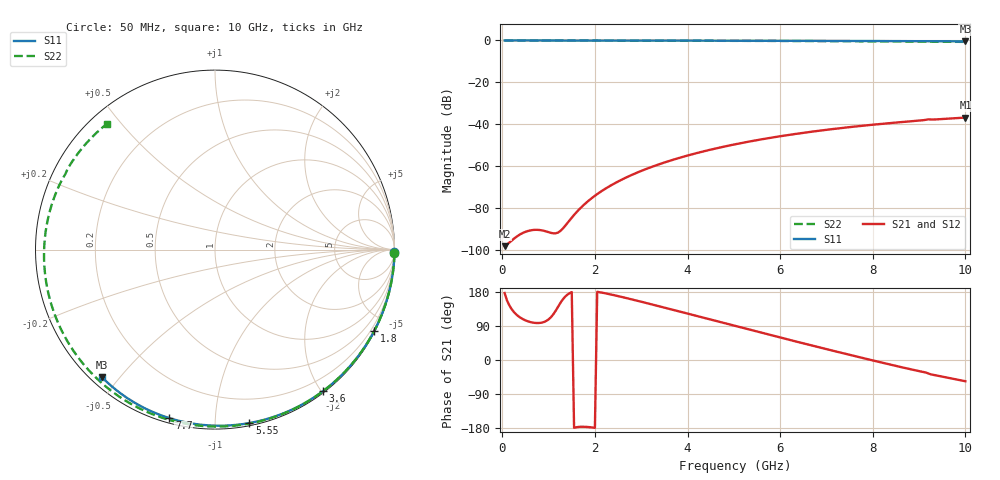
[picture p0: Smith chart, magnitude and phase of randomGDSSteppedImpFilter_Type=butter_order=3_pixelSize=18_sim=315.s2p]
! freq	dB(S11)	phase(S11)	dB(S12)	phase(S12)
!  dB(S21)	phase(S21)	dB(S22)	phase(S22)
!S-par simulation data
#  GHz  S  DB  R 50
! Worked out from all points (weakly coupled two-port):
!   200 points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, 50 MHz to 10 GHz, reference 50 ohm
!   highest |S21| = -36.76 dB at 10 GHz (marker M1); lowest = -98.1 dB at 50 MHz (marker M2)
!   lowest |S11| = -0.4 dB at 10 GHz (marker M3), VSWR 38.99, Z = 1.54 - j22.5 ohm
!   |S11| at or under -10 dB: nowhere
!   |S22| runs from -0.7 to 0.0 dB; largest |S21 - S12| = 0
!   S11 on the Smith chart (normalised r, x): 50 MHz: open; 1.8 GHz: 0.04, -4.17; 3.6 GHz: 0.02, -2.02; 5.55 GHz: 0.02, -1.22; 7.7 GHz: 0.02, -0.77; 10 GHz: 0.03, -0.45
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0.05  -0.00 -0.8  -98.07 176.7  -98.07 176.7  -0.00 -1.2
0.8  -0.01 -12.1  -90.35 97.7  -90.35 97.7  -0.02 -19.7
1.65  -0.03 -24.8  -80.76 -176.6  -80.76 -176.6  -0.05 -40.1
1.7  -0.03 -25.5  -79.65 -176.2  -79.65 -176.2  -0.05 -41.3
1.75  -0.03 -26.2  -78.60 -176.1  -78.60 -176.1  -0.05 -42.5
1.8  -0.03 -27.0  -77.59 -176.3  -77.59 -176.3  -0.06 -43.7
2.1  -0.04 -31.4  -72.47 178.9  -72.47 178.9  -0.06 -50.7
2.45  -0.05 -36.5  -67.82 170.0  -67.82 170.0  -0.07 -58.8
2.9  -0.06 -42.9  -63.11 156.8  -63.11 156.8  -0.09 -69.0
3.4  -0.07 -50.0  -58.93 141.4  -58.93 141.4  -0.11 -80.1
3.6  -0.07 -52.7  -57.48 135.1  -57.48 135.1  -0.11 -84.4
4.3  -0.09 -62.3  -53.12 112.9  -53.12 112.9  -0.14 -99.5
5.05  -0.11 -72.3  -49.40 89.2  -49.40 89.2  -0.18 -115.2
5.55  -0.13 -78.8  -47.32 73.4  -47.32 73.4  -0.20 -125.6
6.15  -0.15 -86.3  -45.16 54.7  -45.16 54.7  -0.24 -138.0
6.7  -0.18 -93.1  -43.45 37.8  -43.45 37.8  -0.29 -149.5
7.2  -0.21 -99.2  -42.07 22.7  -42.07 22.7  -0.33 -160.1
7.7  -0.24 -105.1  -40.84 7.7  -40.84 7.7  -0.38 -171.1
8.35  -0.29 -112.7  -39.45 -11.3  -39.45 -11.3  -0.46 174.0
8.8  -0.33 -117.9  -38.60 -24.0  -38.60 -24.0  -0.51 163.1
9.25  -0.37 -123.0  -37.66 -37.8  -37.66 -37.8  -0.58 151.8
10  -0.45 -131.4  -36.76 -56.1  -36.76 -56.1  -0.68 130.8
